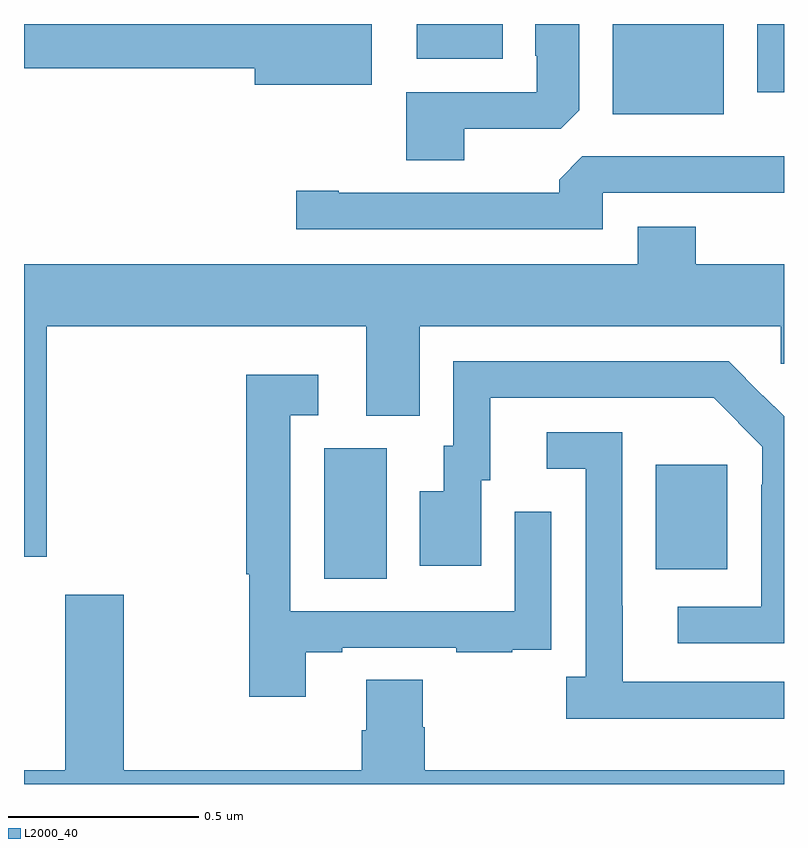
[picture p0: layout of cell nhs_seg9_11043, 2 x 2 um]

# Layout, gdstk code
import gdstk
lib = gdstk.Library(unit=1e-6, precision=1e-09)
def R(c, l, rs):  # rectangles x0, y0, x1, y1
    for r in rs: c.add(gdstk.rectangle(r[:2], r[2:], *l))
def P(c, l, *ps):  # polygons
    for p in ps: c.add(gdstk.Polygon(p, *l))
L2000_40 = (2000, 40)

nhs_seg9_11043 = lib.new_cell('nhs_seg9_11043')
R(nhs_seg9_11043, L2000_40, [(250.79,1245.04,250.954,1245.384), (251.663,1245.065,251.851,1245.34), (251.549,1246.262,251.842,1246.5), (251.93,1246.32,252,1246.5), (251.033,1246.409,251.26,1246.5)])
P(nhs_seg9_11043, L2000_40, [(251.158,1246.224),(251.412,1246.224),(251.461,1246.273),(251.461,1246.5),(251.345,1246.5),(251.345,1246.417),(251.349,1246.417),(251.349,1246.32),(251.006,1246.32),(251.006,1246.141),(251.158,1246.141)],
  [(250.915,1246.5),(250,1246.5),(250,1246.384),(250.607,1246.384),(250.607,1246.34),(250.915,1246.34)],
  [(251.523,1246.056),(252,1246.056),(252,1246.152),(251.469,1246.152),(251.408,1246.09),(251.408,1246.056),(250.828,1246.056),(250.828,1246.061),(250.716,1246.061),(250.716,1245.96),(251.523,1245.96)],
  [(250.06,1245.704),(250.901,1245.704),(250.901,1245.469),(251.041,1245.469),(251.041,1245.704),(251.991,1245.704),(251.991,1245.606),(252,1245.606),(252,1245.868),(251.768,1245.868),(251.768,1245.967),(251.615,1245.967),(251.615,1245.868),(250,1245.868),(250,1245.098),(250.06,1245.098)],
  [(252,1245.468),(251.946,1245.522),(251.945,1245.521),(251.854,1245.612),(251.13,1245.612),(251.13,1245.39),(251.105,1245.39),(251.105,1245.271),(251.042,1245.271),(251.042,1245.075),(251.203,1245.075),(251.203,1245.3),(251.227,1245.3),(251.227,1245.516),(251.815,1245.516),(251.943,1245.387),(251.943,1245.287),(251.94,1245.287),(251.94,1244.967),(251.721,1244.967),(251.721,1244.871),(252,1244.871)],
  [(250.741,1244.847),(250.837,1244.847),(250.837,1244.859),(251.137,1244.859),(251.137,1244.847),(251.285,1244.847),(251.285,1244.853),(251.387,1244.853),(251.387,1244.962),(251.388,1244.962),(251.388,1245.217),(251.292,1245.217),(251.292,1244.955),(250.701,1244.955),(250.701,1245.471),(250.774,1245.471),(250.774,1245.577),(250.585,1245.577),(250.585,1245.052),(250.593,1245.052),(250.593,1244.73),(250.741,1244.73)],
  [(252,1244.769),(251.575,1244.769),(251.575,1244.969),(251.574,1244.969),(251.574,1245.426),(251.376,1245.426),(251.376,1245.33),(251.478,1245.33),(251.478,1244.782),(251.427,1244.782),(251.427,1244.672),(252,1244.672)],
  [(252,1244.536),(251.054,1244.536),(251.054,1244.649),(251.049,1244.649),(251.049,1244.774),(250.901,1244.774),(250.901,1244.642),(250.889,1244.642),(250.889,1244.536),(250.263,1244.536),(250.263,1244.998),(250.108,1244.998),(250.108,1244.536),(250,1244.536),(250,1244.5),(252,1244.5)])

lib.write_gds('nhs_seg9_11043.gds')
